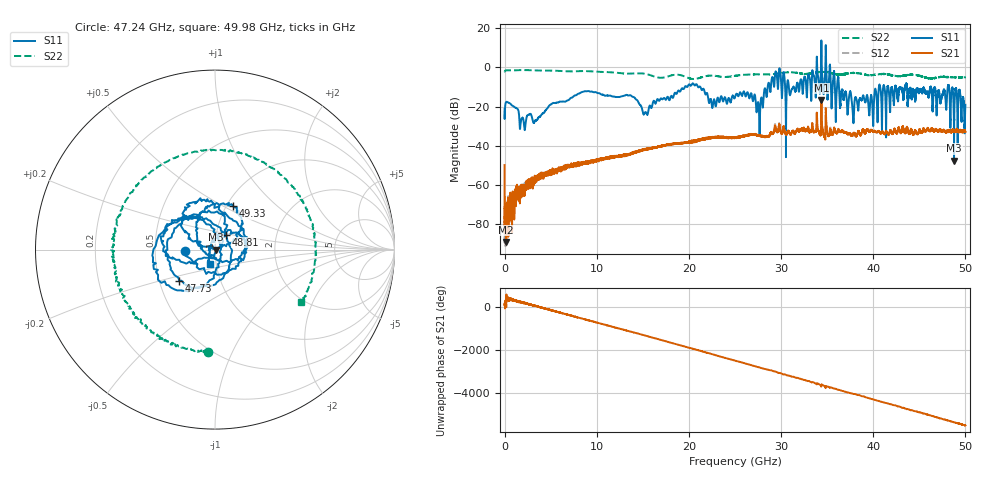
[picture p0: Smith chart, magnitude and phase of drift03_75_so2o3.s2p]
!Created with skrf (http://scikit-rf.org).
# Hz S RI R 50.0
!freq ReS11 ImS11 ReS21 ImS21 ReS12 ImS12 ReS22 ImS22
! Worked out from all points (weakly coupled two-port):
!   10001 points, 300 kHz to 50 GHz, reference 50 ohm
!   highest |S21| = -16.62 dB at 34.37 GHz (marker M1); lowest = -89.1 dB at 175.3 MHz (marker M2)
!   lowest |S11| = -47.5 dB at 48.77 GHz (marker M3), VSWR 1.01, Z = 50.4 - j0.014 ohm
!   |S11| at or under -10 dB: start of sweep to 19.55 GHz; 21.25 GHz to 28.55 GHz (7.296 GHz wide, 29.3 % of centre); 36.28 GHz to 40.61 GHz (4.329 GHz wide, 11.3 % of centre) (the widest 3 of 34)
!   |S22| runs from -5.9 to -1.3 dB; largest |S21 - S12| = 0.026
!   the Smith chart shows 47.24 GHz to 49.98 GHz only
!   S11 on the Smith chart (normalised r, x): 47.24 GHz: 0.71, -0.01; 47.73 GHz: 0.64, -0.24; 48.81 GHz: 1.12, +0.19; 49.33 GHz: 1.07, +0.56; 49.98 GHz: 0.93, -0.15
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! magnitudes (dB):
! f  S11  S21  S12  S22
! 300 kHz  -21.3  -49.8  -65.4  -2.0
! 175.3 MHz  -17.6  -89.1  -75.6  -1.5
! 3.3 GHz  -27.3  -57.7  -57.0  -1.5
! 8.335 GHz  -12.6  -49.4  -48.5  -1.9
! 15.29 GHz  -22.8  -41.7  -41.6  -3.3
! 16.67 GHz  -16.5  -40.5  -40.5  -5.2
! 20.26 GHz  -9.1  -38.2  -38.3  -5.8
! 25 GHz  -15.2  -35.6  -36.0  -4.3
! 27.52 GHz  -17.8  -34.5  -34.6  -3.5
! 29.28 GHz  -8.5  -31.2  -30.6  -3.3
! 30.73 GHz  -6.6  -32.6  -32.6  -2.5
! 33.34 GHz  -7.5  -31.2  -31.2  -2.9
! 34.37 GHz  13.8  -16.6  -17.7  -2.2
! 37.87 GHz  -28.0  -33.7  -34.2  -2.8
! 41.67 GHz  -11.3  -34.2  -33.9  -3.6
! 47.24 GHz  -15.4  -31.7  -31.5  -4.9
! 47.73 GHz  -11.6  -32.0  -32.1  -4.8
! 48.77 GHz  -47.5  -32.3  -32.4  -5.1
! 48.81 GHz  -19.6  -32.5  -32.5  -5.1
! 49.33 GHz  -11.6  -32.6  -32.3  -5.2
! 49.98 GHz  -21.2  -32.7  -32.7  -5.0
! 50 GHz  -19.1  -32.8  -32.7  -4.9
